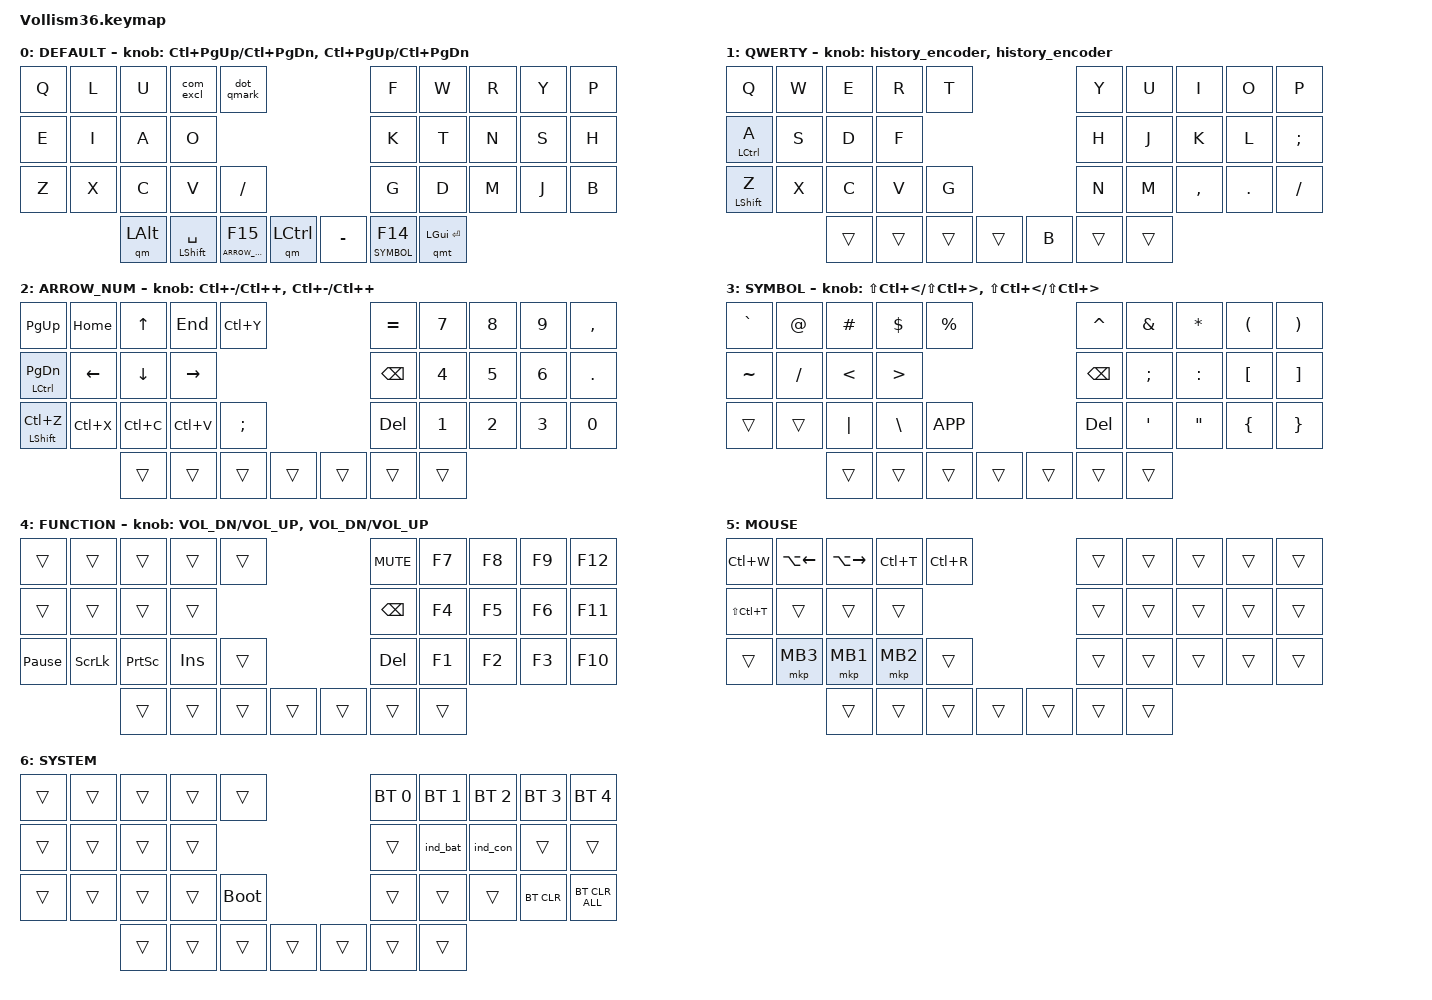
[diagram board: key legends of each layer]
#include <behaviors.dtsi>
#include <dt-bindings/zmk/bt.h>
#include <dt-bindings/zmk/keys.h>
#include <dt-bindings/zmk/pointing.h>
#include <behaviors/rgbled_widget.dtsi>
#include <input/processors.dtsi>

#define ZMK_POINTING_DEFAULT_MOVE_VAL 600
#define ZMK_POINTING_DEFAULT_SCRL_VAL 10

#define DEFAULT 0
#define QWERTY 1
#define ARROW_NUM 2
#define SYMBOL 3
#define FUNCTION 4
#define MOUSE 5
#define SYSTEM 6

&mt {
    flavor = "hold-preferred";
    tapping-term-ms = <200>;
    quick-tap-ms = <0>;
};

&lt {
    flavor = "hold-preferred";
};

&sl {
    release-after-ms = <600>;
};

&mkp_input_listener {
    input-processors = <&zip_temp_layer MOUSE 2000>;
};

/ {

    conditional_layers {
        compatible = "zmk,conditional-layers";
        tri_layer {
            if-layers = <ARROW_NUM SYMBOL>;
            then-layer = <FUNCTION>;
        };
    };

    combos {    
        compatible = "zmk,combos";

        esc {
            bindings = <&kp ESC>;
            key-positions = <0 1>;
            timeout-ms = <80>;
        };

        tab {
            bindings = <&kp TAB>;
            key-positions = <1 3>;
            timeout-ms = <80>;
        };

        qwerty_on_off {
            bindings = <&tog QWERTY>;
            key-positions = <4 5>;
            timeout-ms = <80>;
            layers = <DEFAULT QWERTY>;
        };

        system_on_off {
            bindings = <&mo SYSTEM>;
            key-positions = <30 31 32>;
            timeout-ms = <80>;
        };
    };

    behaviors {
        com_excl: comma_exclamation {
            compatible = "zmk,behavior-mod-morph";
            #binding-cells = <0>;
            bindings = <&kp COMMA>, <&kp EXCL>;
            mods = <(MOD_LSFT)>;
        };
        dot_qmark: dot_question {
            compatible = "zmk,behavior-mod-morph";
            #binding-cells = <0>;
            bindings = <&kp DOT>, <&kp QMARK>;
            mods = <(MOD_LSFT)>;
        };            
        tog_on: toggle_layer_on_only {
            compatible = "zmk,behavior-toggle-layer";
            #binding-cells = <1>;
            display-name = "Toggle Layer On";
            toggle-mode = "on";
        };
        tog_off: toggle_layer_off_only {
            compatible = "zmk,behavior-toggle-layer";
            #binding-cells = <1>;
            display-name = "Toggle Layer Off";
            toggle-mode = "off";
        };
        lt_ime_on: lt_ime_on {
            compatible = "zmk,behavior-hold-tap";
            #binding-cells = <2>;
            flavor = "hold-preferred";
            tapping-term-ms = <200>;
            bindings = <&mo>, <&ime_on>;
        };
        lt_ime_off: lt_ime_off {
            compatible = "zmk,behavior-hold-tap";
            #binding-cells = <2>;
            flavor = "hold-preferred";
            tapping-term-ms = <200>;
            bindings = <&mo>, <&ime_off>;
        };
        history_back: history_back {
			compatible = "zmk,behavior-mod-morph";
			#binding-cells = <0>;
			bindings = <&none>, <&kp LA(LEFT)>;
			mods = <(MOD_LCTL|MOD_LALT|MOD_LGUI)>;
		};
		history_forward: history_forward {
			compatible = "zmk,behavior-mod-morph";
			#binding-cells = <0>;
			bindings = <&none>, <&kp LA(RIGHT)>;
			mods = <(MOD_LCTL|MOD_LALT|MOD_LGUI)>;
		};
        history_encoder: history_encoder {
            compatible = "zmk,behavior-sensor-rotate";
            #sensor-binding-cells = <0>;
            bindings = <&history_back>, <&history_forward>;
        };
    };

    macros {
        qmt: qwerty_mt {
            compatible = "zmk,behavior-macro-two-param";
            wait-ms = <0>;
            tap-ms = <0>;
            #binding-cells = <2>;
            bindings
                = <&macro_press &mo QWERTY>
                , <&macro_param_1to1>
                , <&macro_param_2to2>
                , <&macro_press &mt MACRO_PLACEHOLDER MACRO_PLACEHOLDER>
                , <&macro_pause_for_release>
                , <&macro_param_1to1>
                , <&macro_param_2to2>
                , <&macro_release &mt MACRO_PLACEHOLDER MACRO_PLACEHOLDER>
                , <&macro_release &mo QWERTY>
                ;
        };
        qm: qwerty_m {
            compatible = "zmk,behavior-macro-one-param";
            wait-ms = <0>;
            tap-ms = <0>;
            #binding-cells = <1>;
            bindings
                = <&macro_press &mo QWERTY>
                , <&macro_param_1to1>
                , <&macro_press &kp MACRO_PLACEHOLDER>
                , <&macro_pause_for_release>
                , <&macro_param_1to1>
                , <&macro_release &kp MACRO_PLACEHOLDER>
                , <&macro_release &mo QWERTY>
                ;
        };
        /*kp_aml: kp_automosuelayer {
            compatible = "zmk,behavior-macro-one-param";
            #binding-cells = <1>;
            bindings =
                <&macro_param_1to1>,
                <&macro_press &kp MACRO_PLACEHOLDER>,
                <&macro_pause_for_release>,
                <&macro_param_1to1>,
                <&macro_release &kp MACRO_PLACEHOLDER>,
                <&macro_tap &sl MOUSE>;
        };*/
        exit_AML: exit_AML {
            compatible = "zmk,behavior-macro";
            wait-ms = <0>;
            tap-ms = <0>;
            #binding-cells = <0>;
            bindings = <&tog_off MOUSE>;
        };
        kp_exit_AML: kp_exit_AML {
            compatible = "zmk,behavior-macro-one-param";
            wait-ms = <0>;
            tap-ms = <0>;
            #binding-cells = <1>;
            bindings = <&macro_param_1to1 &kp MACRO_PLACEHOLDER &exit_AML>;
        };
        ime_on: ime_on {
            compatible = "zmk,behavior-macro-one-param";
            wait-ms = <0>;
            tap-ms = <0>;
            #binding-cells = <1>;
            bindings = <&kp LANG1 &macro_param_1to1 &kp MACRO_PLACEHOLDER>;
        };
        ime_off: ime_off {
            compatible = "zmk,behavior-macro-one-param";
            wait-ms = <0>;
            tap-ms = <0>;
            #binding-cells = <1>;
            bindings = <&kp LANG2 &macro_param_1to1 &kp MACRO_PLACEHOLDER>;
        };
    };

    keymap {
        compatible = "zmk,keymap";

        DEFAULT {
            bindings = <
            &kp Q    &kp L    &kp U       &com_excl           &dot_qmark                                                 &kp F                    &kp W              &kp R    &kp Y    &kp P
            &kp E    &kp I    &kp A       &kp O                                                                          &kp K                    &kp T              &kp N    &kp S    &kp H
            &kp Z    &kp X    &kp C       &kp V                                                             &kp SLASH    &kp G                    &kp D              &kp M    &kp J    &kp B
                              &qm LALT    &mt LSHIFT SPACE    &lt_ime_off ARROW_NUM F15    &qm LCTRL        &kp MINUS    &lt_ime_on SYMBOL F14    &qmt LGUI ENTER
            >;
            sensor-bindings = <&inc_dec_kp LC(PG_UP) LC(PG_DN) &inc_dec_kp LC(PG_UP) LC(PG_DN)>;
        };

        QWERTY {
            bindings = <
            &kp Q           &kp W    &kp E     &kp R     &kp T                            &kp Y     &kp U     &kp I        &kp O      &kp P
            &mt LCTRL A     &kp S    &kp D     &kp F                                      &kp H     &kp J     &kp K        &kp L      &kp SEMI
            &mt LSHIFT Z    &kp X    &kp C     &kp V                             &kp G    &kp N     &kp M     &kp COMMA    &kp DOT    &kp SLASH
                                     &trans    &trans    &trans    &trans        &kp B    &trans    &trans
            >;
            sensor-bindings = <&history_encoder &history_encoder>;
        };

        ARROW_NUM {
            bindings = <
            &kp PG_UP           &kp HOME     &kp UP       &kp END      &kp LC(Y)                                   &kp EQUAL    &kp N7    &kp N8    &kp N9    &kp COMMA
            &mt LCTRL PG_DN     &kp LEFT     &kp DOWN     &kp RIGHT                                                &kp BSPC     &kp N4    &kp N5    &kp N6    &kp DOT
            &mt LSHIFT LC(Z)    &kp LC(X)    &kp LC(C)    &kp LC(V)                               &kp SEMICOLON    &kp DEL      &kp N1    &kp N2    &kp N3    &kp N0
                                             &trans       &trans       &trans       &trans        &trans           &trans       &trans
            >;
            sensor-bindings = <&inc_dec_kp LC(MINUS) LC(PLUS) &inc_dec_kp LC(MINUS) LC(PLUS)>;
        };

        SYMBOL {
            bindings = <
            &kp GRAVE    &kp AT       &kp HASH    &kp DLLR    &kp PRCNT                               &kp CARET    &kp AMPS     &kp ASTRK    &kp LPAR    &kp RPAR
            &kp TILDE    &kp SLASH    &kp LT      &kp GT                                              &kp BSPC     &kp SEMI     &kp COLON    &kp LBKT    &kp RBKT
            &trans       &trans       &kp PIPE    &kp BSLH                               &kp K_APP    &kp DEL      &kp SQT      &kp DQT      &kp LBRC    &kp RBRC
                                      &trans       &trans     &trans       &trans        &trans       &trans       &trans
            >;
            sensor-bindings = <&inc_dec_kp LS(LC(LT)) LS(LC(GT)) &inc_dec_kp LS(LC(LT)) LS(LC(GT))>;
        };

        FUNCTION {
            bindings = <
            &trans             &trans      &trans       &trans     &trans                  &kp C_MUTE    &kp F7    &kp F8    &kp F9    &kp F12
            &trans             &trans      &trans       &trans                             &kp BSPC      &kp F4    &kp F5    &kp F6    &kp F11
            &kp PAUSE_BREAK    &kp SLCK    &kp PSCRN    &kp INS                  &trans    &kp DEL       &kp F1    &kp F2    &kp F3    &kp F10
                                           &trans       &trans     &trans        &trans    &trans        &trans    &trans
            >;
            sensor-bindings = <&inc_dec_kp C_VOL_DN C_VOL_UP &inc_dec_kp C_VOL_DN C_VOL_UP>;
        };

        MOUSE {
            bindings = <
            &kp LC(W)        &kp LA(LEFT)    &kp LA(RIGHT)   &kp LC(T)           &kp LC(R)                                         &trans              &trans             &trans    &trans    &trans
            &kp LS(LC(T))    &trans         &trans        &trans                                                              &trans              &trans             &trans    &trans    &trans
            &trans           &mkp MB3           &mkp MB1    &mkp MB2                                             &trans      &trans              &trans             &trans    &trans    &trans
                                              &trans        &trans    &trans    &trans            &trans    &trans    &trans
            >;
        };

        SYSTEM {
            bindings = <
            &trans    &trans    &trans    &trans    &trans                                 &bt BT_SEL 0    &bt BT_SEL 1    &bt BT_SEL 2    &bt BT_SEL 3    &bt BT_SEL 4
            &trans    &trans    &trans    &trans                                           &trans          &ind_bat        &ind_con        &trans          &trans
            &trans    &trans    &trans    &trans                            &bootloader    &trans          &trans          &trans          &bt BT_CLR      &bt BT_CLR_ALL
                                &trans    &trans    &trans    &trans        &trans         &trans          &trans
            >;
        };
    };
};
